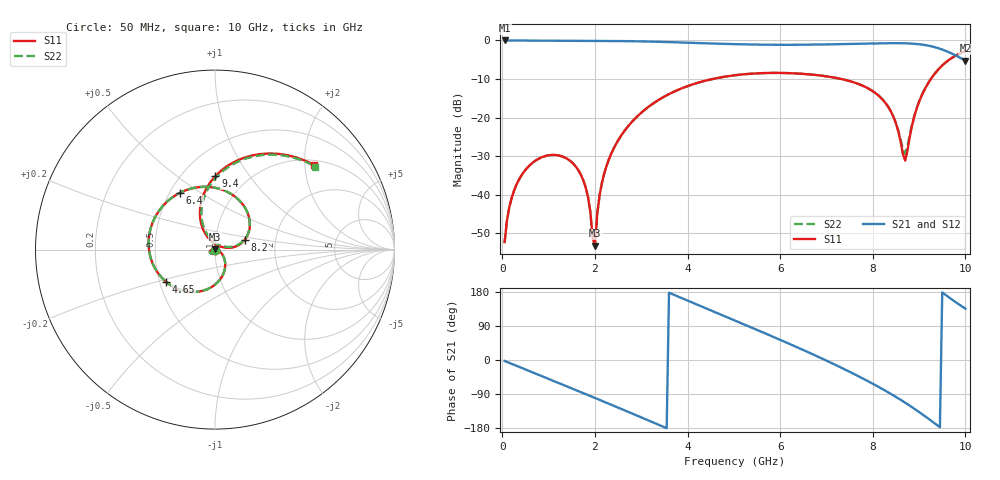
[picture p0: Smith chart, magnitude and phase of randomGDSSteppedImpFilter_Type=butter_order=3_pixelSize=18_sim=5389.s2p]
! freq	dB(S11)	phase(S11)	dB(S12)	phase(S12)
!  dB(S21)	phase(S21)	dB(S22)	phase(S22)
!S-par simulation data
#  GHz  S  DB  R 50
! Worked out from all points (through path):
!   200 points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, 50 MHz to 10 GHz, reference 50 ohm
!   highest |S21| = 0.00 dB at 50 MHz (marker M1); lowest = -5.3 dB at 10 GHz (marker M2)
!   group delay of S21, straight-line fit = 155 ps
!   lowest |S11| = -53.3 dB at 2 GHz (marker M3), VSWR 1.00, Z = 50.2 + j0.143 ohm
!   |S11| at or under -10 dB: start of sweep to 4.54 GHz; 7.321 GHz to 9.254 GHz (1.933 GHz wide, 23.3 % of centre)
!   |S22| runs from -53.3 to -2.8 dB; largest |S21 - S12| = 0
!   S11 on the Smith chart (normalised r, x): 50 MHz: 1.00, -0.00; 4.65 GHz: 0.54, -0.22; 6.4 GHz: 0.56, +0.41; 8.2 GHz: 1.39, +0.15; 9.4 GHz: 0.71, +0.71; 10 GHz: 1.11, +2.22
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0.05  -52.30 -83.9  -0.00 -2.5  -0.00 -2.5  -52.32 -83.8
0.25  -39.07 -101.0  -0.02 -12.5  -0.02 -12.5  -39.07 -101.0
0.65  -31.76 -123.1  -0.05 -32.4  -0.05 -32.4  -31.76 -123.1
1.3  -30.10 -157.1  -0.08 -64.9  -0.08 -64.9  -30.11 -157.2
1.75  -36.29 177.0  -0.10 -87.4  -0.10 -87.4  -36.29 177.0
1.85  -40.55 168.3  -0.11 -92.5  -0.11 -92.5  -40.55 168.4
2  -53.25 40.8  -0.11 -100.1  -0.11 -100.1  -53.35 40.3
2.1  -40.24 -6.4  -0.12 -105.1  -0.12 -105.1  -40.24 -6.7
2.35  -29.43 -25.6  -0.14 -117.9  -0.14 -117.9  -29.43 -25.8
3.4  -15.24 -82.0  -0.36 -172.1  -0.36 -172.1  -15.24 -82.1
4.65  -9.73 -146.5  -0.84 123.3  -0.84 123.3  -9.73 -146.7
5.05  -8.98 -167.1  -0.97 102.8  -0.97 102.8  -8.98 -167.3
5.7  -8.44 159.2  -1.11 69.1  -1.11 69.1  -8.44 159.0
6.4  -8.59 121.8  -1.12 31.8  -1.12 31.8  -8.59 121.6
6.7  -8.87 105.3  -1.08 15.3  -1.08 15.3  -8.87 105.1
7.45  -10.37 62.3  -0.93 -28.1  -0.93 -28.1  -10.37 62.3
8.2  -15.18 18.1  -0.74 -76.0  -0.74 -76.0  -15.15 19.1
8.35  -17.56 10.5  -0.71 -86.5  -0.71 -86.5  -17.50 12.2
8.7  -31.16 67.4  -0.74 -112.7  -0.74 -112.7  -29.36 66.5
9  -15.91 118.5  -0.98 -137.3  -0.98 -137.3  -15.82 115.4
9.4  -7.74 89.7  -1.96 -172.7  -1.96 -172.7  -7.72 88.0
10  -2.79 40.7  -5.26 135.5  -5.26 135.5  -2.79 39.6
